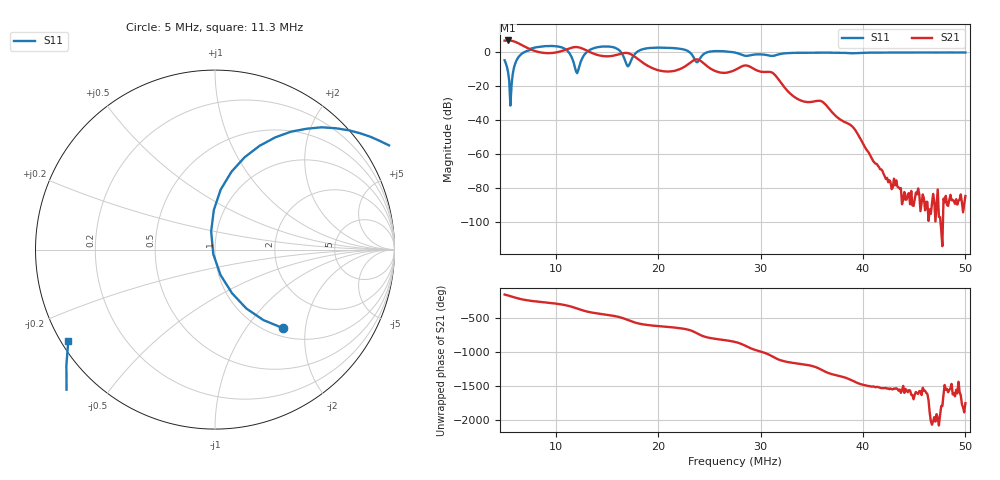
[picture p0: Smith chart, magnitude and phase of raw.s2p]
! S11/S21 only; reverse parameters are placeholders. Device calibration unverified.
! NanoVNA F V2 profile | COM3 | 2026-09-08T12:27:47.7394112-04:00 | device calibration unverified
# HZ S RI R 50
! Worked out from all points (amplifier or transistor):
!   401 points, 5 MHz to 50 MHz, reference 50 ohm
!   highest |S21| = 6.9 dB at 5.338 MHz (marker M1)
!   |S21| within 3 dB of that: start of sweep to 6.774 MHz
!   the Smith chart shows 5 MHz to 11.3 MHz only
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5000000  0.3772 -0.4371  -2.023 -0.8016  0 0  0 0
5337500  0.0953 -0.2435  -2.188 -0.2936  0 0  0 0
6912500  0.7443 0.665  -0.8384 1.225  0 0  0 0
7250000  0.9218 0.6037  -0.5726 1.186  0 0  0 0
7812500  0.511 -1.233  -0.2741 1.086  0 0  0 0
8937500  0.1237 -1.493  0.0708 0.9425  0 0  0 0
1.11875e7  -0.828 -0.6441  1.005 0.7422  0 0  0 0
1.25375e7  0.6113 0.1084  1.149 -0.6061  0 0  0 0
1.36625e7  1.054 -0.7562  0.3539 -0.839  0 0  0 0
1.52375e7  0.5024 -1.368  -0.1571 -0.7432  0 0  0 0
1.65875e7  -0.572 -0.5191  -0.7903 -0.4961  0 0  0 0
1.74875e7  0.455 0.5313  -0.776 0.264  0 0  0 0
1.83875e7  1.191 0.0793  -0.3043 0.4174  0 0  0 0
2.0075e7  1.261 -0.5072  -0.0304 0.2888  0 0  0 0
2.3675e7  0.384 -0.3715  0.6103 -0.00326  0 0  0 0
2.49125e7  0.9836 -0.2691  0.1041 -0.3458  0 0  0 0
2.75e7  0.7885 -0.5692  -0.216 -0.207  0 0  0 0
2.93e7  0.7489 -0.3867  -0.1385 0.2986  0 0  0 0
3.50375e7  0.6987 -0.6656  -0.0227 -0.0263  0 0  0 0
3.8975e7  0.5349 -0.76  0.00629 0.00155  0 0  0 0
4.2575e7  0.4424 -0.8681  -6.4e-05 -0.000161  0 0  0 0
5e7  0.1618 -0.9624  4.4e-05 4e-05  0 0  0 0
